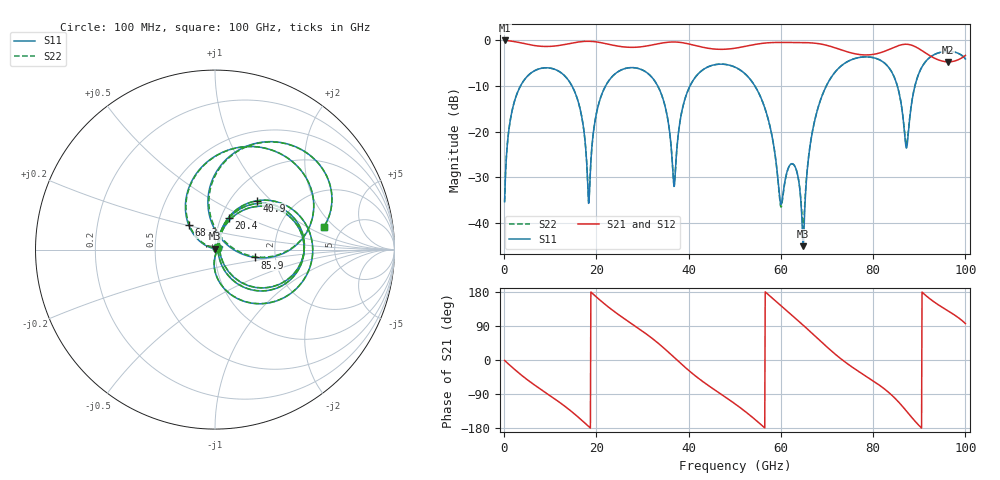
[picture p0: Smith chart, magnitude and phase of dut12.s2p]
! Touchstone file exported from HFSS 2026.1.0
!  File:  C:/ffzhzh/LocalFiles/Ansys_Project_Files/temp_train_TSV_RDL_12_1783613012_33328.aedt
!  Generated:  12:13:23 AM Jul 10, 2026
!  Design:  TSV_RDL
!  Project:  temp_train_TSV_RDL_12_1783613012_33328
! Variables:
!  h_bsmrdl = 3.77um
!  h_ox = 20um
!  h_rdl = 5um
!  h_sub = 84.65um
!  h_tmrdl = 2.27um
!  h_tsv = 84.65um
!  h_via = 3um
!  l_bsmrdl = 477.87um
!  l_sub = 3095.3um
!  l_tmrdl = 276.76um
!  m_sub = 200um
!  pitch = 59.54um
!  r_tsv = 13.87um
!  s_tmrdl = 10um
!  w_bsmrdl = 23.84um
!  w_sub = 500um
!  w_tmrdl = 27.71um
!  x_tsv_center1 = 290.615um
!  x_tsv_center2 = 792.325um
!  x_tsv_center3 = 1096.795um
!  x_tsv_center4 = 1598.505um
!  x_tsv_center5 = 1902.975um
!  x_tsv_center6 = 2404.685um
# GHz S MA R 50.000000
! Terminal data exported
! Port[1] = TM_RDL1_1_T1
! Port[2] = TM_RDL5_1_T1
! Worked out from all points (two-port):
!   1000 points, 100 MHz to 100 GHz, reference 50 ohm
!   highest |S21| = -0.12 dB at 100 MHz (marker M1); lowest = -4.8 dB at 96.3 GHz (marker M2)
!   |S21| within 3 dB of the highest: start of sweep to 76.56 GHz; 80.25 GHz to 91.77 GHz (11.52 GHz wide, 13.4 % of centre)
!   lowest |S11| = -45.0 dB at 64.8 GHz (marker M3), VSWR 1.01, Z = 50.2 + j0.532 ohm
!   |S11| at or under -10 dB: 14.69 GHz to 22.01 GHz (7.325 GHz wide, 39.9 % of centre); 33.27 GHz to 40.31 GHz (7.037 GHz wide, 19.1 % of centre); 54.33 GHz to 69.87 GHz (15.54 GHz wide, 25 % of centre) (the widest 3 of 5)
!   |S22| runs from -41.1 to -2.5 dB; largest |S21 - S12| = 3.3e-14
!   S11 on the Smith chart (normalised r, x): 100 MHz: 1.03, +0.02; 20.4 GHz: 1.09, +0.40; 40.9 GHz: 1.31, +0.82; 68.3 GHz: 0.72, +0.20; 85.9 GHz: 1.56, -0.14; 100 GHz: 3.61, +1.49
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0.1  0.01717 38.9  0.9868 -1.2  0.9868 -1.2  0.01717 38.9
! Gamma 0 0 0 0
! Port Impedance 50 0 50 0
1.8  0.1761 64.3  0.9666 -19.9  0.9666 -19.9  0.1761 64.3
5.4  0.4184 32.0  0.8888 -55.5  0.8888 -55.5  0.4184 32.0
16.8  0.1472 -64.2  0.9589 -158.7  0.9589 -158.7  0.1473 -63.8
18.4  0.01696 21.8  0.9662 -176.3  0.9662 -176.3  0.01783 20.9
20.4  0.1923 66.3  0.9447 162.0  0.9447 162.0  0.1924 66.1
33.4  0.3075 -43.2  0.9086 44.3  0.9086 44.3  0.3077 -43.0
36.9  0.02537 17.6  0.9499 6.4  0.9499 6.4  0.02642 16.9
40.9  0.3575 49.5  0.8824 -36.5  0.8824 -36.5  0.3574 49.5
50.1  0.5035 -25.5  0.8129 -116.1  0.8129 -116.1  0.5034 -25.4
57.5  0.1216 -89.9  0.9326 170.1  0.9326 170.1  0.1215 -89.9
59.9  0.01669 -47.0  0.9392 144.3  0.9392 144.3  0.01568 -47.1
62.7  0.04405 17.8  0.9371 114.7  0.9371 114.7  0.04394 20.9
64.8  0.005624 70.4  0.9355 92.2  0.9355 92.2  0.008821 78.1
66.7  0.09174 152.0  0.9277 71.2  0.9277 71.2  0.09248 149.6
68.3  0.1998 137.1  0.9086 53.2  0.9086 53.2  0.2003 135.9
75.5  0.6137 69.3  0.7163 -19.1  0.7163 -19.1  0.6141 69.1
83.4  0.4992 8.1  0.7851 -85.9  0.7851 -85.9  0.4998 8.4
85.9  0.2255 -11.2  0.8795 -116.0  0.8795 -116.0  0.2271 -10.0
87.3  0.06732 54.5  0.897 -135.9  0.897 -135.9  0.07268 53.4
96.3  0.7501 39.0  0.5767 129.2  0.5767 129.2  0.7502 38.8
100  0.6201 11.8  0.6767 96.1  0.6767 96.1  0.6205 11.8
